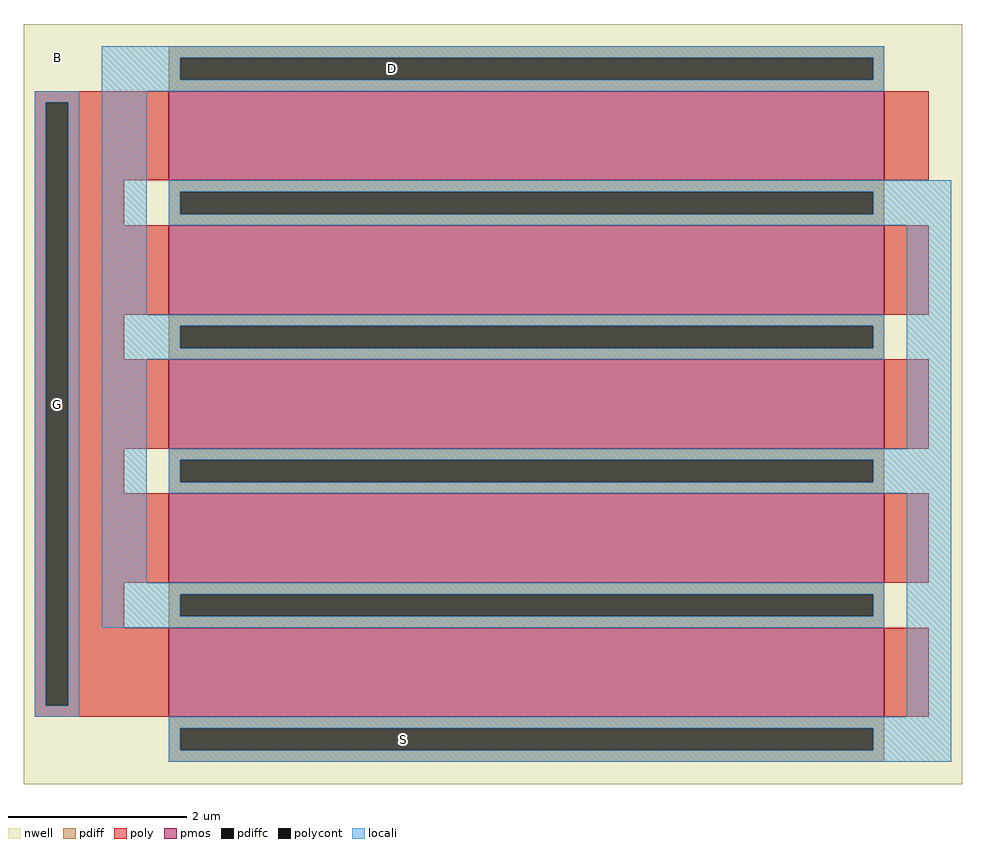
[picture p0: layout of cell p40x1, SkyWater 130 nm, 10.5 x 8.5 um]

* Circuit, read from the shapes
.subckt p40x1 D G S B
XM1 D G S B sky130_fd_pr__pfet_01v8 w=8 l=1 m=5
.ends

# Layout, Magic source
magic
tech sky130A
magscale 1 2
<< nwell >>
rect -225 -1150 1875 550
<< pmos >>
rect 100 200 1700 400
rect 100 -100 1700 100
rect 100 -400 1700 -200
rect 100 -700 1700 -500
rect 100 -1000 1700 -800
<< pdiff >>
rect 100 475 1700 500
rect 100 425 125 475
rect 1675 425 1700 475
rect 100 400 1700 425
rect 100 175 1700 200
rect 100 125 125 175
rect 1675 125 1700 175
rect 100 100 1700 125
rect 100 -125 1700 -100
rect 100 -175 125 -125
rect 1675 -175 1700 -125
rect 100 -200 1700 -175
rect 100 -425 1700 -400
rect 100 -475 125 -425
rect 1675 -475 1700 -425
rect 100 -500 1700 -475
rect 100 -725 1700 -700
rect 100 -775 125 -725
rect 1675 -775 1700 -725
rect 100 -800 1700 -775
rect 100 -1025 1700 -1000
rect 100 -1075 125 -1025
rect 1675 -1075 1700 -1025
rect 100 -1100 1700 -1075
<< pdiffc >>
rect 125 425 1675 475
rect 125 125 1675 175
rect 125 -175 1675 -125
rect 125 -475 1675 -425
rect 125 -775 1675 -725
rect 125 -1075 1675 -1025
<< poly >>
rect -200 375 100 400
rect -200 -975 -175 375
rect -125 200 100 375
rect 1700 200 1800 400
rect -125 100 0 200
rect -125 -100 100 100
rect 1700 -100 1800 100
rect -125 -200 0 -100
rect -125 -400 100 -200
rect 1700 -400 1800 -200
rect -125 -500 0 -400
rect -125 -700 100 -500
rect 1700 -700 1800 -500
rect -125 -800 0 -700
rect -125 -975 100 -800
rect -200 -1000 100 -975
rect 1700 -1000 1800 -800
<< polycont >>
rect -175 -975 -125 375
<< locali >>
rect -50 475 1700 500
rect -50 425 125 475
rect 1675 425 1700 475
rect -50 400 1700 425
rect -200 375 -100 400
rect -200 -975 -175 375
rect -125 -975 -100 375
rect -50 -100 50 400
rect 100 175 1850 200
rect 100 125 125 175
rect 1675 125 1850 175
rect 100 100 1850 125
rect -50 -125 1700 -100
rect -50 -175 125 -125
rect 1675 -175 1700 -125
rect -50 -200 1700 -175
rect -50 -700 50 -200
rect 1750 -400 1850 100
rect 100 -425 1850 -400
rect 100 -475 125 -425
rect 1675 -475 1850 -425
rect 100 -500 1850 -475
rect -50 -725 1700 -700
rect -50 -775 125 -725
rect 1675 -775 1700 -725
rect -50 -800 1700 -775
rect -200 -1000 -100 -975
rect 1750 -1000 1850 -500
rect 100 -1025 1850 -1000
rect 100 -1075 125 -1025
rect 1675 -1075 1850 -1025
rect 100 -1100 1850 -1075
<< labels >>
flabel pdiffc 600 450 600 450 0 FreeSans 800 0 0 0 D
port 0 nsew
flabel pdiffc 625 -1050 625 -1050 0 FreeSans 800 0 0 0 S
port 2 nsew
flabel polycont -150 -300 -150 -300 0 FreeSans 800 0 0 0 G
port 1 nsew
flabel nwell -150 475 -150 475 0 FreeSans 800 0 0 0 B
port 3 nsew
<< end >>
